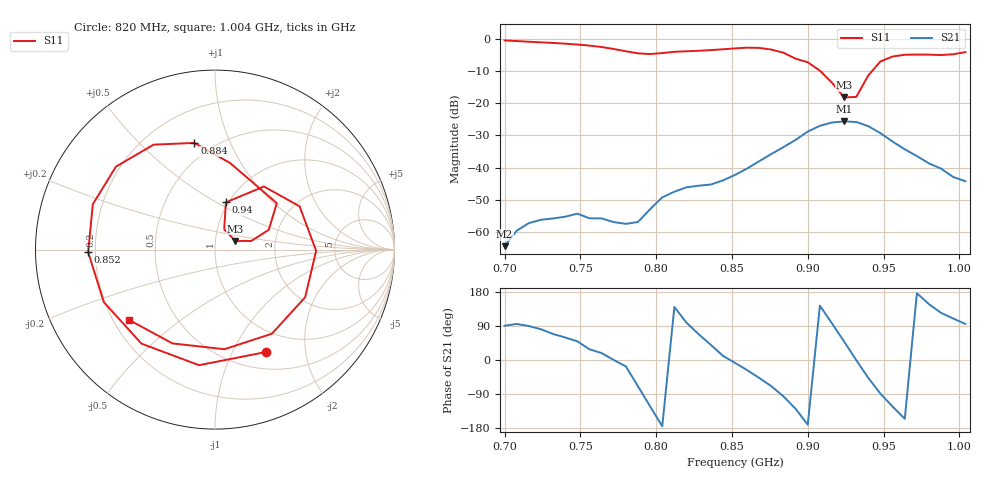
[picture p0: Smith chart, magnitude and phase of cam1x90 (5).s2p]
# Hz S RI R 50
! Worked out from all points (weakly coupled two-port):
!   39 points, 700 MHz to 1.004 GHz, reference 50 ohm
!   highest |S21| = -25.65 dB at 924 MHz (marker M1); lowest = -64.4 dB at 700 MHz (marker M2)
!   lowest |S11| = -18.2 dB at 924 MHz (marker M3), VSWR 1.28, Z = 62.4 + j6.15 ohm
!   |S11| at or under -10 dB: 908.2 MHz to 942.5 MHz (34.35 MHz wide, 3.71 % of centre)
!   S12 and S22 are empty: the file has one direction only
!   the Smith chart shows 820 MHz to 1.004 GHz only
!   S11 on the Smith chart (normalised r, x): 820 MHz: 0.71, -1.37; 852 MHz: 0.17, -0.01; 884 MHz: 0.40, +0.74; 940 MHz: 0.97, +0.55; 1.004 GHz: 0.26, -0.33
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7e8  0.7591 0.5528  -4.97e-06 0.000603  0 0  0 0
7.24e8  0.841 -0.2512  0.00024 0.00153  0 0  0 0
7.4e8  0.4574 -0.7016  0.000883 0.00149  0 0  0 0
7.56e8  -0.1921 -0.7571  0.00144 0.000772  0 0  0 0
7.72e8  -0.6616 -0.2031  0.00143 6.33e-07  0 0  0 0
7.8e8  -0.5984 0.2213  0.00128 -0.000389  0 0  0 0
7.88e8  -0.2567 0.5345  0.000502 -0.00134  0 0  0 0
7.96e8  0.2308 0.5293  -0.00121 -0.00191  0 0  0 0
8.04e8  0.5671 0.1908  -0.00343 -0.000305  0 0  0 0
8.2e8  0.2862 -0.5703  -0.000728 0.00489  0 0  0 0
8.36e8  -0.4097 -0.524  0.00416 0.00353  0 0  0 0
8.52e8  -0.7067 -0.0142  0.00763 -0.00103  0 0  0 0
8.68e8  -0.5519 0.4623  0.0085 -0.00927  0 0  0 0
8.84e8  -0.1151 0.5944  -0.00225 -0.0207  0 0  0 0
9e8  0.3444 0.2589  -0.0357 -0.0058  0 0  0 0
9.08e8  0.2996 0.1101  -0.0357 0.0266  0 0  0 0
9.24e8  0.1126 0.0486  0.0345 0.0391  0 0  0 0
9.32e8  0.0512 0.114  0.0509 -0.000415  0 0  0 0
9.4e8  0.0607 0.2633  0.0296 -0.0323  0 0  0 0
9.56e8  0.4712 0.2413  -0.0138 -0.0212  0 0  0 0
9.8e8  0.3168 -0.4688  -0.00977 0.00626  0 0  0 0
1.004e9  -0.4792 -0.3918  -0.000544 0.00612  0 0  0 0
